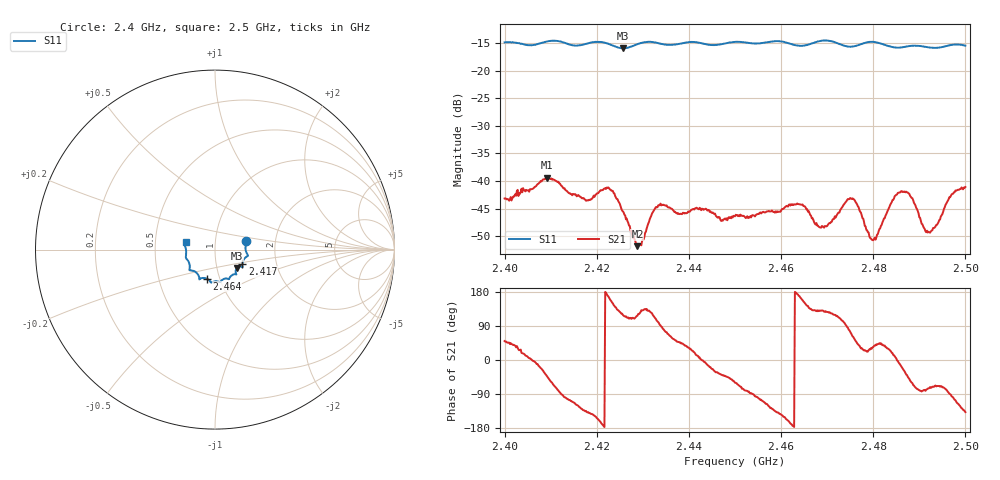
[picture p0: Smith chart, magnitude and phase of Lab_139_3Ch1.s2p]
# Hz S RI R 50
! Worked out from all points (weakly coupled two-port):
!   601 points, 2.4 GHz to 2.5 GHz, reference 50 ohm
!   highest |S21| = -39.42 dB at 2.4092 GHz (marker M1); lowest = -51.8 dB at 2.4288 GHz (marker M2)
!   lowest |S11| = -15.9 dB at 2.4257 GHz (marker M3), VSWR 1.38, Z = 62.4 - j13.1 ohm
!   |S11| at or under -10 dB: start of sweep to end of sweep
!   S12 and S22 are empty: the file has one direction only
!   S11 on the Smith chart (normalised r, x): 2.4 GHz: 1.41, +0.14; 2.417 GHz: 1.34, -0.22; 2.464 GHz: 0.87, -0.29; 2.5 GHz: 0.72, +0.06
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2.4e9  0.1737 0.0489  0.00446 0.00532  0 0  0 0
2.409167e9  0.1817 -0.0286  0.0079 -0.00721  0 0  0 0
2.416667e9  0.1534 -0.075  -0.0044 -0.0055  0 0  0 0
2.417e9  0.1528 -0.079  -0.00469 -0.0052  0 0  0 0
2.422667e9  0.1469 -0.094  -0.0083 0.00232  0 0  0 0
2.425667e9  0.1225 -0.1021  -0.00255 0.00465  0 0  0 0
2.428833e9  0.1155 -0.1301  -0.00116 0.00229  0 0  0 0
2.429833e9  0.1173 -0.1354  -0.00185 0.00216  0 0  0 0
2.433333e9  0.1129 -0.137  -0.00104 0.00592  0 0  0 0
2.45e9  0.0292 -0.1803  0.00241 -0.00413  0 0  0 0
2.464e9  -0.0465 -0.1617  -0.00602 0.00123  0 0  0 0
2.466667e9  -0.076 -0.1593  -0.00308 0.00339  0 0  0 0
2.469667e9  -0.0876 -0.1661  -0.00244 0.00304  0 0  0 0
2.4755e9  -0.1108 -0.1228  0.0032 0.00617  0 0  0 0
2.48e9  -0.1429 -0.1136  0.00241 0.00162  0 0  0 0
2.483333e9  -0.1406 -0.0901  0.0049 0.0027  0 0  0 0
2.485167e9  -0.1455 -0.0704  0.00755 -0.000165  0 0  0 0
2.487333e9  -0.1569 -0.0542  0.00605 -0.00507  0 0  0 0
2.491e9  -0.1617 -0.0345  0.000722 -0.00369  0 0  0 0
2.492333e9  -0.1608 -0.0218  0.00108 -0.00322  0 0  0 0
2.497e9  -0.1694 0.026  -0.00073 -0.00752  0 0  0 0
2.5e9  -0.1635 0.0414  -0.0065 -0.00595  0 0  0 0
